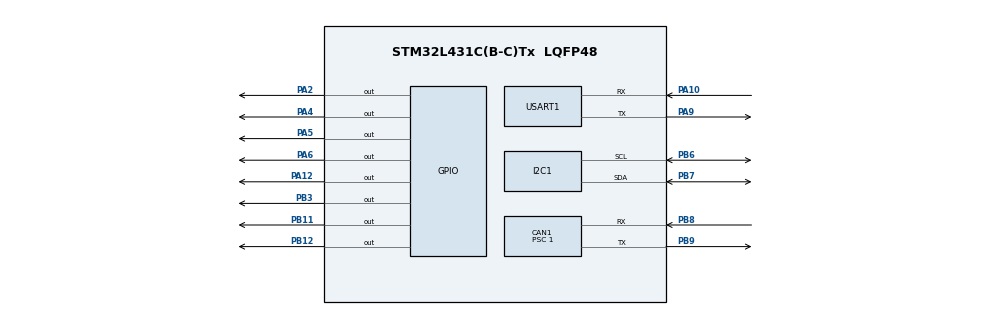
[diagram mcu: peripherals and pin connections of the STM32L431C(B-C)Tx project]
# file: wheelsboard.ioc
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CAN1.ABOM=ENABLE
CAN1.AWUM=ENABLE
CAN1.BS1=CAN_BS1_5TQ
CAN1.BS2=CAN_BS2_2TQ
CAN1.CalculateBaudRate=500000
CAN1.CalculateTimeBit=2000
CAN1.CalculateTimeQuantum=250.0
CAN1.NART=ENABLE
CAN1.Prescaler=1
CAN1.TTCM=DISABLE
CAN1.TXFP=ENABLE
I2C1.Timing=0x00100D14
Mcu.Family=STM32L4
Mcu.Name=STM32L431C(B-C)Tx
Mcu.Package=LQFP48
NVIC.CAN1_RX0_IRQn=true\:0\:0\:false\:false\:true\:true\:true\:true
NVIC.CAN1_RX1_IRQn=true\:0\:0\:false\:false\:true\:true\:true\:true
NVIC.CAN1_SCE_IRQn=true\:0\:0\:false\:false\:true\:true\:true\:true
NVIC.CAN1_TX_IRQn=true\:0\:0\:false\:false\:true\:true\:true\:true
NVIC.PriorityGroup=NVIC_PRIORITYGROUP_4
PA10.Mode=Asynchronous
PA10.Signal=USART1_RX
PA12.Signal=GPIO_Output
PA2.Signal=GPIO_Output
PA4.Signal=GPIO_Output
PA5.Signal=GPIO_Output
PA6.Signal=GPIO_Output
PA9.Mode=Asynchronous
PA9.Signal=USART1_TX
PB11.Signal=GPIO_Output
PB12.Signal=GPIO_Output
PB3\ (JTDO-TRACESWO).Signal=GPIO_Output
PB6.Mode=I2C
PB6.Signal=I2C1_SCL
PB7.Mode=I2C
PB7.Signal=I2C1_SDA
PB8.Mode=CAN_Activate
PB8.Signal=CAN1_RX
PB9.Mode=CAN_Activate
PB9.Signal=CAN1_TX
ProjectManager.HeapSize=0x200
ProjectManager.StackSize=0x400
ProjectManager.TargetToolchain=STM32CubeIDE
RCC.HSE_VALUE=8000000
RCC.HSI48_VALUE=48000000
RCC.HSI_VALUE=16000000
RCC.LSE_VALUE=32768
RCC.MSI_VALUE=4000000
RCC.VCOOutputFreq_Value=32000000
USART1.VirtualMode-Asynchronous=VM_ASYNC
board=custom

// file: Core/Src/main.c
/* USER CODE BEGIN Header */
/**
  ******************************************************************************
  * @file           : main.c
  * @brief          : Main program body
  ******************************************************************************
  * @attention
  *
  * Copyright (c) 2026 STMicroelectronics.
  * All rights reserved.
  *
  * This software is licensed under terms that can be found in the LICENSE file
  * in the root directory of this software component.
  * If no LICENSE file comes with this software, it is provided AS-IS.
  *
  ******************************************************************************
  */
/* USER CODE END Header */
#include "main.h"

/* USER CODE BEGIN Includes */
#include <stdio.h>
#include <stm32l4xx_hal_can.h>
/* USER CODE END Includes */

CAN_HandleTypeDef hcan1;

I2C_HandleTypeDef hi2c1;

UART_HandleTypeDef huart1;

void SystemClock_Config(void);
static void MX_GPIO_Init(void);
static void MX_USART1_UART_Init(void);
static void MX_I2C1_Init(void);
static void MX_CAN1_Init(void);

int main(void)
{

  /* MCU Configuration--------------------------------------------------------*/

  /* Reset of all peripherals, Initializes the Flash interface and the Systick. */
  HAL_Init();

  /* Configure the system clock */
  SystemClock_Config();

  /* Initialize all configured peripherals */
  MX_GPIO_Init();
  MX_USART1_UART_Init();
  MX_I2C1_Init();
  MX_CAN1_Init();
  /* USER CODE BEGIN 2 */
  CAN_TxHeaderTypeDef txHeader;
  uint8_t txData[8];
  uint32_t txMailbox;

  CAN_FilterTypeDef filterConfig;
  filterConfig.FilterBank = 0;
  filterConfig.FilterMode = CAN_FILTERMODE_IDMASK;
  filterConfig.FilterScale = CAN_FILTERSCALE_32BIT;
  filterConfig.FilterIdHigh = 0x0000;
  filterConfig.FilterIdLow = 0x0000;
  filterConfig.FilterMaskIdHigh = 0x0000;
  filterConfig.FilterMaskIdLow = 0x0000;
  filterConfig.FilterFIFOAssignment = CAN_RX_FIFO0;
  filterConfig.FilterActivation = ENABLE;
  filterConfig.SlaveStartFilterBank = 14;

  HAL_CAN_ConfigFilter(&hcan1, &filterConfig);

  HAL_CAN_Start(&hcan1);

  HAL_CAN_ActivateNotification(&hcan1, CAN_IT_RX_FIFO0_MSG_PENDING);

  HAL_NVIC_SetPriority(CAN1_RX0_IRQn, 0, 0);
  HAL_NVIC_EnableIRQ(CAN1_RX0_IRQn);

  /* Fill TX header */
  txHeader.StdId = 0x123; // 11-bit standard CAN ID
  txHeader.ExtId = 0x00;  // Not used for standard ID
  txHeader.IDE = CAN_ID_STD; // Standard identifier
  txHeader.RTR = CAN_RTR_DATA; // Data frame (not remote)
  txHeader.DLC = 8; // 8 data bytes
  txHeader.TransmitGlobalTime = DISABLE; // TTCM disabled → must be DISABLE

  /* Fill payload (example sensor data) */
  uint32_t counter = 0;
  txData[4] = 0x00;
  txData[5] = 0x00;
  txData[6] = 0x00;
  txData[7] = 0x00;

  HAL_CAN_Start(&hcan1);
  /* USER CODE END 2 */

  /* Infinite loop */
  /* USER CODE BEGIN WHILE */
  while (1)
  {
      txData[0] = (uint8_t)(counter & 0xFF);
      txData[1] = (uint8_t)((counter >> 8) & 0xFF);
      txData[2] = (uint8_t)((counter >> 16) & 0xFF);
      txData[3] = (uint8_t)((counter >> 24) & 0xFF);
      // Heartbeat: Toggle GPIOB Pin 11 to show the code is running
      HAL_GPIO_TogglePin(GPIOB, GPIO_PIN_11);
      if(HAL_CAN_GetTxMailboxesFreeLevel(&hcan1)){
        // if mailboxes are not full
        HAL_Delay(1);
        if (HAL_CAN_AddTxMessage(&hcan1, &txHeader, txData, &txMailbox) != HAL_OK){
            // Mailboxes are full or another error occurred.
        }else{
          HAL_GPIO_WritePin(GPIOB, GPIO_PIN_3,0);
          counter++;
        }
      }else{
        HAL_GPIO_WritePin(GPIOB, GPIO_PIN_3,1);
      }

      HAL_Delay(100);
  }
    /* USER CODE END WHILE */

}

void SystemClock_Config(void)
{
  RCC_OscInitTypeDef RCC_OscInitStruct = {0};
  RCC_ClkInitTypeDef RCC_ClkInitStruct = {0};

  /** Configure the main internal regulator output voltage
  */
  if (HAL_PWREx_ControlVoltageScaling(PWR_REGULATOR_VOLTAGE_SCALE1) != HAL_OK)
  {
    Error_Handler();
  }

  /** Initializes the RCC Oscillators according to the specified parameters
  * in the RCC_OscInitTypeDef structure.
  */
  RCC_OscInitStruct.OscillatorType = RCC_OSCILLATORTYPE_MSI;
  RCC_OscInitStruct.MSIState = RCC_MSI_ON;
  RCC_OscInitStruct.MSICalibrationValue = 0;
  RCC_OscInitStruct.MSIClockRange = RCC_MSIRANGE_6;
  RCC_OscInitStruct.PLL.PLLState = RCC_PLL_NONE;
  if (HAL_RCC_OscConfig(&RCC_OscInitStruct) != HAL_OK)
  {
    Error_Handler();
  }

  /** Initializes the CPU, AHB and APB buses clocks
  */
  RCC_ClkInitStruct.ClockType = RCC_CLOCKTYPE_HCLK|RCC_CLOCKTYPE_SYSCLK
                              |RCC_CLOCKTYPE_PCLK1|RCC_CLOCKTYPE_PCLK2;
  RCC_ClkInitStruct.SYSCLKSource = RCC_SYSCLKSOURCE_MSI;
  RCC_ClkInitStruct.AHBCLKDivider = RCC_SYSCLK_DIV1;
  RCC_ClkInitStruct.APB1CLKDivider = RCC_HCLK_DIV1;
  RCC_ClkInitStruct.APB2CLKDivider = RCC_HCLK_DIV1;

  if (HAL_RCC_ClockConfig(&RCC_ClkInitStruct, FLASH_LATENCY_0) != HAL_OK)
  {
    Error_Handler();
  }
}

static void MX_CAN1_Init(void)
{

  hcan1.Instance = CAN1;
  hcan1.Init.Prescaler = 1;
  hcan1.Init.Mode = CAN_MODE_NORMAL;
  hcan1.Init.SyncJumpWidth = CAN_SJW_1TQ;
  hcan1.Init.TimeSeg1 = CAN_BS1_5TQ;
  hcan1.Init.TimeSeg2 = CAN_BS2_2TQ;
  hcan1.Init.TimeTriggeredMode = DISABLE;
  hcan1.Init.AutoBusOff = ENABLE;
  hcan1.Init.AutoWakeUp = ENABLE;
  hcan1.Init.AutoRetransmission = ENABLE;
  hcan1.Init.ReceiveFifoLocked = DISABLE;
  hcan1.Init.TransmitFifoPriority = ENABLE;
  if (HAL_CAN_Init(&hcan1) != HAL_OK)
  {
    Error_Handler();
  }

}

static void MX_I2C1_Init(void)
{

  hi2c1.Instance = I2C1;
  hi2c1.Init.Timing = 0x00100D14;
  hi2c1.Init.OwnAddress1 = 0;
  hi2c1.Init.AddressingMode = I2C_ADDRESSINGMODE_7BIT;
  hi2c1.Init.DualAddressMode = I2C_DUALADDRESS_DISABLE;
  hi2c1.Init.OwnAddress2 = 0;
  hi2c1.Init.OwnAddress2Masks = I2C_OA2_NOMASK;
  hi2c1.Init.GeneralCallMode = I2C_GENERALCALL_DISABLE;
  hi2c1.Init.NoStretchMode = I2C_NOSTRETCH_DISABLE;
  if (HAL_I2C_Init(&hi2c1) != HAL_OK)
  {
    Error_Handler();
  }

  /** Configure Analogue filter
  */
  if (HAL_I2CEx_ConfigAnalogFilter(&hi2c1, I2C_ANALOGFILTER_ENABLE) != HAL_OK)
  {
    Error_Handler();
  }

  /** Configure Digital filter
  */
  if (HAL_I2CEx_ConfigDigitalFilter(&hi2c1, 0) != HAL_OK)
  {
    Error_Handler();
  }

}

static void MX_USART1_UART_Init(void)
{

  huart1.Instance = USART1;
  huart1.Init.BaudRate = 115200;
  huart1.Init.WordLength = UART_WORDLENGTH_8B;
  huart1.Init.StopBits = UART_STOPBITS_1;
  huart1.Init.Parity = UART_PARITY_NONE;
  huart1.Init.Mode = UART_MODE_TX_RX;
  huart1.Init.HwFlowCtl = UART_HWCONTROL_NONE;
  huart1.Init.OverSampling = UART_OVERSAMPLING_16;
  huart1.Init.OneBitSampling = UART_ONE_BIT_SAMPLE_DISABLE;
  huart1.AdvancedInit.AdvFeatureInit = UART_ADVFEATURE_NO_INIT;
  if (HAL_UART_Init(&huart1) != HAL_OK)
  {
    Error_Handler();
  }

}

static void MX_GPIO_Init(void)
{
  GPIO_InitTypeDef GPIO_InitStruct = {0};

  /* GPIO Ports Clock Enable */
  __HAL_RCC_GPIOA_CLK_ENABLE();
  __HAL_RCC_GPIOB_CLK_ENABLE();

  /*Configure GPIO pin Output Level */
  HAL_GPIO_WritePin(GPIOA, GPIO_PIN_2|GPIO_PIN_4|GPIO_PIN_5|GPIO_PIN_6
                          |GPIO_PIN_12, GPIO_PIN_RESET);

  /*Configure GPIO pin Output Level */
  HAL_GPIO_WritePin(GPIOB, GPIO_PIN_11|GPIO_PIN_12|GPIO_PIN_3, GPIO_PIN_RESET);

  /*Configure GPIO pins : PA2 PA4 PA5 PA6
                           PA12 */
  GPIO_InitStruct.Pin = GPIO_PIN_2|GPIO_PIN_4|GPIO_PIN_5|GPIO_PIN_6
                          |GPIO_PIN_12;
  GPIO_InitStruct.Mode = GPIO_MODE_OUTPUT_PP;
  GPIO_InitStruct.Pull = GPIO_NOPULL;
  GPIO_InitStruct.Speed = GPIO_SPEED_FREQ_LOW;
  HAL_GPIO_Init(GPIOA, &GPIO_InitStruct);

  /*Configure GPIO pins : PB11 PB12 PB3 */
  GPIO_InitStruct.Pin = GPIO_PIN_11|GPIO_PIN_12|GPIO_PIN_3;
  GPIO_InitStruct.Mode = GPIO_MODE_OUTPUT_PP;
  GPIO_InitStruct.Pull = GPIO_NOPULL;
  GPIO_InitStruct.Speed = GPIO_SPEED_FREQ_LOW;
  HAL_GPIO_Init(GPIOB, &GPIO_InitStruct);

}

void Error_Handler(void)
{
  __disable_irq();
  while (1)
  {
  }
}
